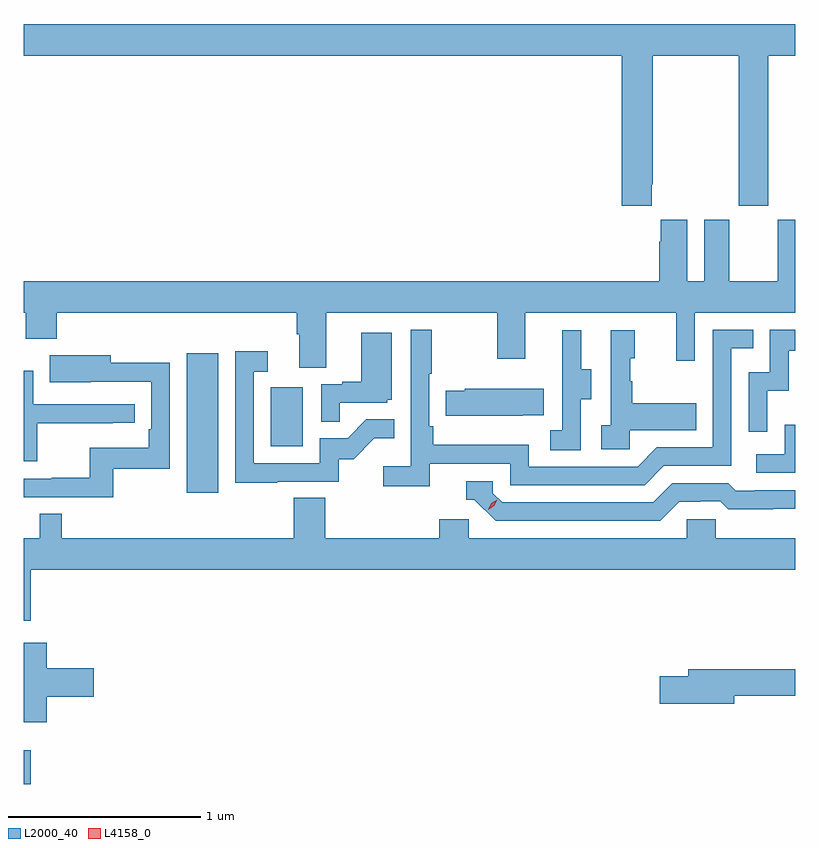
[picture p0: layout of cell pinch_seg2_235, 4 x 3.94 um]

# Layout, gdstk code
import gdstk
lib = gdstk.Library(unit=1e-6, precision=1e-09)
def R(c, l, rs):  # rectangles x0, y0, x1, y1
    for r in rs: c.add(gdstk.rectangle(r[:2], r[2:], *l))
def P(c, l, *ps):  # polygons
    for p in ps: c.add(gdstk.Polygon(p, *l))
L2000_40 = (2000, 40)
L4158_0 = (4158, 0)

pinch_seg2_235 = lib.new_cell('pinch_seg2_235')
R(pinch_seg2_235, L2000_40, [(901.078,649.19,901.115,649.366), (901.925,650.7,902.086,651.421), (902.36,650.94,902.524,651.247)])
P(pinch_seg2_235, L2000_40, [(904.333,652.297),(904.338,652.297),(904.338,652.964),(904.783,652.964),(904.783,652.185),(904.938,652.185),(904.938,652.964),(905.078,652.964),(905.078,653.128),(901.078,653.128),(901.078,652.964),(904.178,652.964),(904.178,652.185),(904.333,652.185)],
  [(902.647,651.632),(903.532,651.632),(903.532,651.393),(903.679,651.393),(903.679,651.632),(904.46,651.632),(904.46,651.384),(904.557,651.384),(904.557,651.632),(905.078,651.632),(905.078,652.114),(904.985,652.114),(904.985,651.796),(904.735,651.796),(904.735,652.114),(904.604,652.114),(904.604,651.796),(904.516,651.796),(904.516,652.114),(904.379,652.114),(904.379,652.001),(904.373,652.001),(904.373,651.796),(901.078,651.796),(901.078,651.632),(901.09,651.632),(901.09,651.497),(901.25,651.497),(901.25,651.632),(902.495,651.632),(902.495,651.52),(902.507,651.52),(902.507,651.346),(902.647,651.346)],
  [(903.182,650.85),(903.6,650.85),(903.6,650.739),(904.297,650.739),(904.396,650.838),(904.746,650.838),(904.746,651.447),(904.859,651.447),(904.859,651.543),(904.65,651.543),(904.65,650.934),(904.359,650.934),(904.26,650.835),(903.696,650.835),(903.696,650.947),(903.2,650.947),(903.2,651.043),(903.18,651.043),(903.18,651.316),(903.193,651.316),(903.193,651.544),(903.084,651.544),(903.084,650.836),(902.943,650.836),(902.943,650.734),(903.182,650.734)],
  [(904.932,651.227),(905.042,651.227),(905.042,651.435),(905.078,651.435),(905.078,651.543),(904.944,651.543),(904.944,651.324),(904.836,651.324),(904.836,651.015),(904.932,651.015)],
  [(904.218,651.023),(904.565,651.023),(904.565,651.163),(904.231,651.163),(904.231,651.278),(904.221,651.278),(904.221,651.396),(904.246,651.396),(904.246,651.541),(904.122,651.541),(904.122,651.05),(904.071,651.05),(904.071,650.925),(904.218,650.925)],
  [(903.966,651.184),(904.021,651.184),(904.021,651.339),(903.967,651.339),(903.967,651.541),(903.869,651.541),(903.869,651.327),(903.87,651.327),(903.87,651.023),(903.807,651.023),(903.807,650.92),(903.966,650.92)],
  [(902.717,651.165),(902.964,651.165),(902.964,651.18),(902.986,651.18),(902.986,651.529),(902.828,651.529),(902.828,651.274),(902.729,651.274),(902.729,651.261),(902.622,651.261),(902.622,651.067),(902.717,651.067)],
  [(902.393,650.757),(902.712,650.757),(902.712,650.874),(902.788,650.874),(902.895,650.981),(902.999,650.981),(902.999,651.08),(902.855,651.08),(902.757,650.982),(902.613,650.982),(902.613,650.853),(902.271,650.853),(902.271,651.327),(902.344,651.327),(902.344,651.433),(902.175,651.433),(902.175,650.752),(902.393,650.752)],
  [(901.543,650.823),(901.836,650.823),(901.836,651.374),(901.531,651.374),(901.531,651.412),(901.213,651.412),(901.213,651.272),(901.427,651.272),(901.427,651.273),(901.74,651.273),(901.74,651.028),(901.727,651.028),(901.727,650.932),(901.422,650.932),(901.422,650.777),(901.225,650.777),(901.225,650.772),(901.078,650.772),(901.078,650.676),(901.543,650.676)],
  [(901.148,651.058),(901.541,651.058),(901.541,651.063),(901.654,651.063),(901.654,651.159),(901.128,651.159),(901.128,651.331),(901.078,651.331),(901.078,650.862),(901.148,650.862)],
  [(903.665,651.101),(903.773,651.101),(903.773,651.238),(903.363,651.238),(903.363,651.228),(903.265,651.228),(903.265,651.098),(903.665,651.098)],
  [(905.078,651.052),(905.022,651.052),(905.022,650.898),(904.875,650.898),(904.875,650.802),(905.078,650.802)],
  [(904.477,650.652),(904.584,650.652),(904.584,650.655),(904.687,650.655),(904.729,650.613),(904.962,650.613),(904.962,650.615),(905.078,650.615),(905.078,650.712),(904.867,650.712),(904.867,650.709),(904.768,650.709),(904.729,650.748),(904.44,650.748),(904.341,650.649),(903.558,650.649),(903.51,650.697),(903.51,650.76),(903.371,650.76),(903.371,650.664),(903.414,650.664),(903.525,650.553),(904.378,650.553)],
  [(901.115,650.3),(905.078,650.3),(905.078,650.464),(904.665,650.464),(904.665,650.562),(904.515,650.562),(904.515,650.464),(903.384,650.464),(903.384,650.562),(903.233,650.562),(903.233,650.464),(902.642,650.464),(902.642,650.672),(902.477,650.672),(902.477,650.464),(901.277,650.464),(901.277,650.591),(901.161,650.591),(901.161,650.464),(901.078,650.464),(901.078,650.037),(901.115,650.037)],
  [(901.198,649.643),(901.441,649.643),(901.441,649.79),(901.198,649.79),(901.198,649.921),(901.078,649.921),(901.078,649.511),(901.198,649.511)],
  [(904.762,649.648),(905.078,649.648),(905.078,649.784),(904.523,649.784),(904.523,649.748),(904.374,649.748),(904.374,649.606),(904.762,649.606)])
P(pinch_seg2_235, L4158_0, [(903.485,650.612),(903.485,650.613),(903.502,650.645),(903.532,650.664),(903.533,650.664),(903.533,650.664),(903.516,650.632),(903.485,650.612)])

lib.write_gds('pinch_seg2_235.gds')
